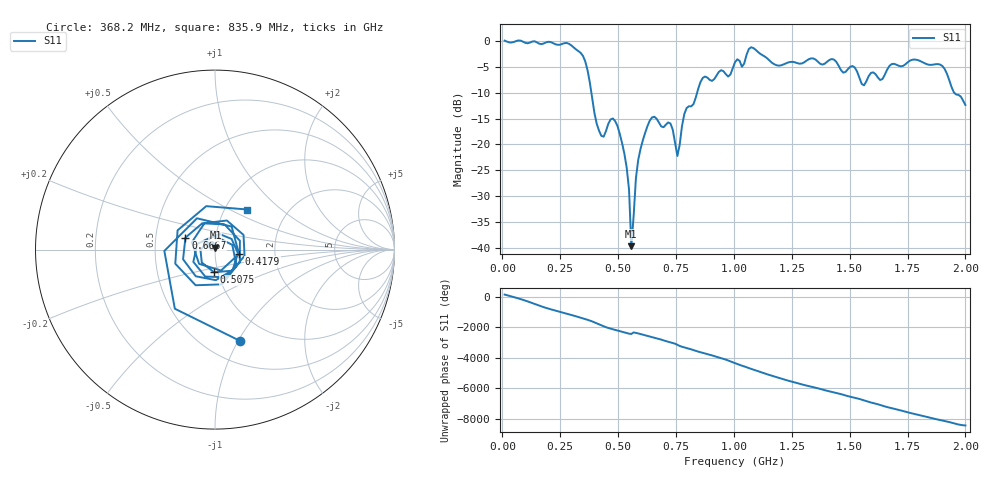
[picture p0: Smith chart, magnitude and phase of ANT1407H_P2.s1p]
!Created with skrf (http://scikit-rf.org).
# Hz S RI R 50.0
!freq ReS11 ImS11
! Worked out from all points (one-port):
!   201 points, 10 MHz to 2 GHz, reference 50 ohm
!   lowest |S11| = -39.7 dB at 557.2 MHz (marker M1), VSWR 1.02, Z = 50.2 + j1.01 ohm
!   |S11| at or under -10 dB: 384.8 MHz to 841.1 MHz (456.2 MHz wide, 74.4 % of centre); 1.953 GHz to end of sweep
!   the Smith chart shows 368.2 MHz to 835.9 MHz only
!   S11 on the Smith chart (normalised r, x): 368.2 MHz: 0.72, -1.01; 417.9 MHz: 1.31, -0.06; 507.5 MHz: 0.96, -0.25; 666.7 MHz: 0.71, +0.10; 835.9 MHz: 1.27, +0.62
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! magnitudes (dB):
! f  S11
! 10 MHz  0.2
! 258.8 MHz  -0.5
! 338.4 MHz  -2.2
! 368.2 MHz  -5.6
! 417.9 MHz  -17.3
! 477.6 MHz  -15.0
! 507.5 MHz  -18.0
! 547.3 MHz  -28.7
! 557.2 MHz  -39.7
! 577.1 MHz  -26.5
! 587.1 MHz  -23.0
! 636.9 MHz  -15.4
! 666.7 MHz  -15.0
! 726.4 MHz  -15.9
! 756.2 MHz  -22.2
! 786.1 MHz  -14.1
! 835.9 MHz  -10.8
! 865.7 MHz  -7.1
! 975.1 MHz  -6.8
! 1.005 GHz  -4.0
! 1.035 GHz  -4.9
! 1.075 GHz  -1.1
! 1.254 GHz  -4.0
! 1.502 GHz  -4.9
! 1.562 GHz  -8.5
! 1.751 GHz  -4.0
! 1.901 GHz  -4.8
! 2 GHz  -12.3
